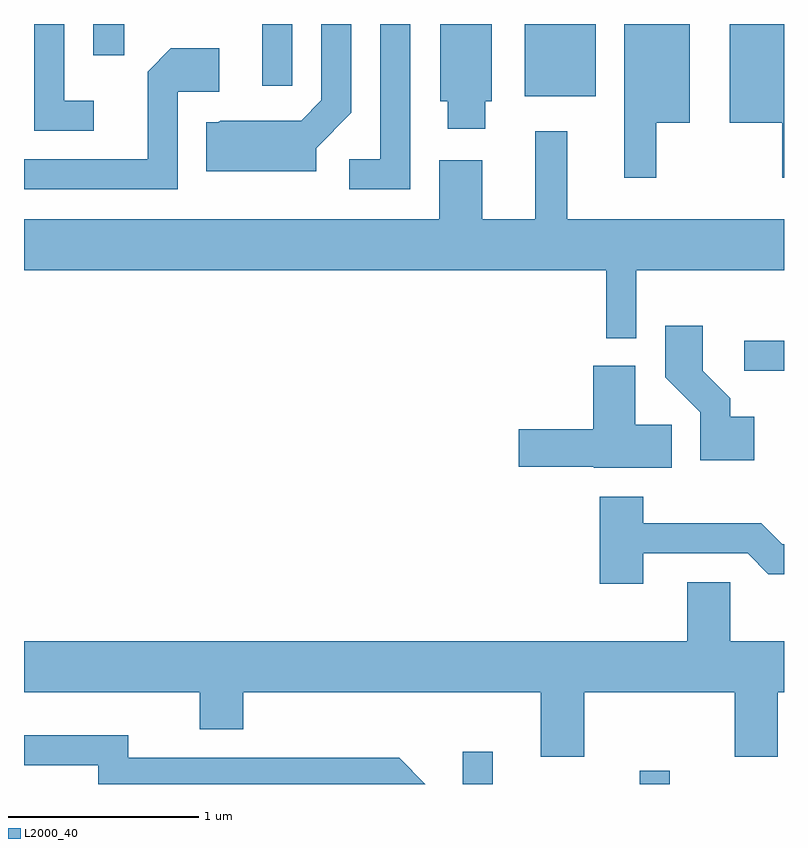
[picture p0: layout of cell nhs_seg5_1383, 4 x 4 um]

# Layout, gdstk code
import gdstk
lib = gdstk.Library(unit=1e-6, precision=1e-09)
def R(c, l, rs):  # rectangles x0, y0, x1, y1
    for r in rs: c.add(gdstk.rectangle(r[:2], r[2:], *l))
def P(c, l, *ps):  # polygons
    for p in ps: c.add(gdstk.Polygon(p, *l))
L2000_40 = (2000, 40)

nhs_seg5_1383 = lib.new_cell('nhs_seg5_1383')
R(nhs_seg5_1383, L2000_40, [(227.921,1474.072,228.079,1474.243), (228.851,1474.072,229.009,1474.143), (229.403,1476.246,229.611,1476.404), (228.246,1477.691,228.619,1478.072), (226.866,1477.748,227.024,1478.072), (225.976,1477.908,226.139,1478.072)])
P(nhs_seg5_1383, L2000_40, [(225.978,1477.669),(225.824,1477.669),(225.824,1478.072),(225.666,1478.072),(225.666,1477.511),(225.978,1477.511)],
  [(227.149,1477.419),(227.334,1477.604),(227.334,1478.072),(227.176,1478.072),(227.176,1477.672),(227.069,1477.564),(226.644,1477.564),(226.634,1477.554),(226.571,1477.554),(226.571,1477.296),(227.149,1477.296)],
  [(228.939,1477.551),(229.114,1477.551),(229.114,1478.072),(228.771,1478.072),(228.771,1477.263),(228.939,1477.263)],
  [(229.611,1478.072),(229.326,1478.072),(229.326,1477.551),(229.601,1477.551),(229.601,1477.263),(229.611,1477.263)],
  [(227.644,1478.072),(227.486,1478.072),(227.486,1477.359),(227.323,1477.359),(227.323,1477.201),(227.644,1477.201)],
  [(228.039,1477.666),(228.074,1477.666),(228.074,1478.072),(227.801,1478.072),(227.801,1477.666),(227.841,1477.666),(227.841,1477.521),(228.039,1477.521)],
  [(226.419,1477.716),(226.639,1477.716),(226.639,1477.944),(226.384,1477.944),(226.261,1477.822),(226.261,1477.359),(225.611,1477.359),(225.611,1477.201),(226.419,1477.201)],
  [(228.834,1476.776),(229.611,1476.776),(229.611,1477.044),(228.469,1477.044),(228.469,1477.508),(228.301,1477.508),(228.301,1477.044),(228.024,1477.044),(228.024,1477.354),(227.796,1477.354),(227.796,1477.044),(225.611,1477.044),(225.611,1476.776),(228.676,1476.776),(228.676,1476.418),(228.834,1476.418)],
  [(229.454,1476.004),(229.329,1476.004),(229.329,1476.102),(229.184,1476.247),(229.184,1476.484),(228.986,1476.484),(228.986,1476.214),(229.171,1476.029),(229.171,1475.776),(229.454,1475.776)],
  [(229.019,1475.964),(228.829,1475.964),(228.829,1476.274),(228.606,1476.274),(228.606,1475.939),(228.216,1475.939),(228.216,1475.741),(228.61,1475.741),(228.61,1475.736),(229.019,1475.736)],
  [(228.869,1475.286),(229.419,1475.286),(229.529,1475.176),(229.611,1475.176),(229.611,1475.334),(229.602,1475.334),(229.492,1475.444),(228.869,1475.444),(228.869,1475.584),(228.641,1475.584),(228.641,1475.126),(228.869,1475.126)],
  [(228.559,1474.556),(229.351,1474.556),(229.351,1474.216),(229.579,1474.216),(229.579,1474.556),(229.611,1474.556),(229.611,1474.824),(229.329,1474.824),(229.329,1475.134),(229.101,1475.134),(229.101,1474.824),(225.611,1474.824),(225.611,1474.556),(226.536,1474.556),(226.536,1474.361),(226.764,1474.361),(226.764,1474.556),(228.331,1474.556),(228.331,1474.216),(228.559,1474.216)],
  [(227.587,1474.209),(226.159,1474.209),(226.159,1474.329),(225.611,1474.329),(225.611,1474.171),(226.001,1474.171),(226.001,1474.072),(227.724,1474.072)])

lib.write_gds('nhs_seg5_1383.gds')
